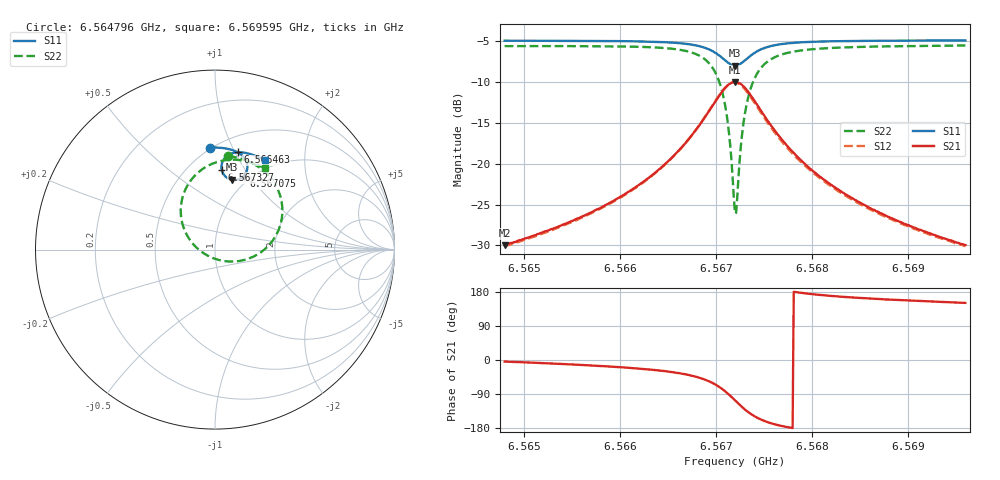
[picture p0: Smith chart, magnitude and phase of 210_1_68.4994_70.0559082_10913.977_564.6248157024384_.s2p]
#  HZ  S  RI  R  50.00
! Rohde & Schwarz Vector Network Analyzer
! Rohde-Schwarz,ZNB20-2Port,1311601062101988,3.16
! Created: UTC 3/20/2024, 5:13:06 PM
! freq[Hz]  re:S11  im:S11  re:S21  im:S21  re:S12  im:S12  re:S22  im:S22
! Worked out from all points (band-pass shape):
!   401 points, 6.564796 GHz to 6.569595 GHz, reference 50 ohm
!   highest |S21| = -9.96 dB at 6.567195 GHz (marker M1); lowest = -30.0 dB at 6.564796 GHz (marker M2)
!   |S21| within 3 dB of the highest: 6.566957 GHz to 6.567436 GHz (479.7 kHz wide, 0.0073 % of centre)
!   lowest |S11| = -8.0 dB at 6.567195 GHz (marker M3), VSWR 2.33, Z = 43.1 + j39.9 ohm
!   |S11| at or under -10 dB: nowhere
!   |S22| runs from -26.1 to -5.5 dB; largest |S21 - S12| = 0.016
!   S11 on the Smith chart (normalised r, x): 6.564796 GHz: 0.49, +0.82; 6.566463 GHz: 0.65, +1.02; 6.567075 GHz: 0.92, +0.94; 6.567327 GHz: 0.71, +0.79; 6.569595 GHz: 0.88, +1.30
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6.5647959e9  -0.0287 0.5684  0.0316 -0.00232  0.0311 -0.00271  0.0735 0.5215
6.5655996e9  0.039 0.5663  0.0462 -0.0107  0.0454 -0.0113  0.1549 0.5031
6.5660675e9  0.0827 0.5585  0.0622 -0.0228  0.0612 -0.0236  0.2162 0.4769
6.5664034e9  0.1187 0.5458  0.0817 -0.0427  0.0805 -0.0437  0.2751 0.4359
6.5664634e9  0.1257 0.5424  0.0864 -0.0486  0.0851 -0.0496  0.2877 0.4241
6.5667033e9  0.1566 0.5193  0.1082 -0.0879  0.1065 -0.0894  0.344 0.3476
6.5668833e9  0.1776 0.4824  0.1194 -0.1522  0.1163 -0.1557  0.3755 0.2229
6.5669913e9  0.1788 0.4447  0.103 -0.2187  0.097 -0.2231  0.3486 0.0966
6.5670752e9  0.1601 0.4095  0.0535 -0.2787  0.043 -0.2819  0.256 -0.0144
6.5671232e9  0.1374 0.3935  0.00367 -0.304  -0.0097 -0.3043  0.1628 -0.0579
6.5671832e9  0.0998 0.3877  -0.0744 -0.3083  -0.0888 -0.3028  0.0213 -0.0578
6.5671952e9  0.092 0.389  -0.0902 -0.3046  -0.1044 -0.2976  -0.00654 -0.0491
6.5672192e9  0.0771 0.3943  -0.1205 -0.2923  -0.1334 -0.2831  -0.0585 -0.0234
6.5672672e9  0.0529 0.413  -0.1693 -0.2534  -0.1783 -0.2406  -0.1388 0.0525
6.5673272e9  0.0377 0.4436  -0.2019 -0.1925  -0.2054 -0.1792  -0.1861 0.1636
6.5674232e9  0.041 0.4869  -0.2037 -0.1091  -0.2019 -0.0987  -0.1751 0.3096
6.5675671e9  0.0684 0.5225  -0.1682 -0.0399  -0.1646 -0.0342  -0.0983 0.4255
6.5677351e9  0.1003 0.5379  -0.1293 -0.0072  -0.1259 -0.00415  -0.0175 0.4776
6.567999e9  0.1393 0.5423  -0.0907 0.00979  -0.0883 0.0113  0.0684 0.4994
6.5684069e9  0.1842 0.5357  -0.0599 0.0157  -0.0584 0.0165  0.1491 0.4973
6.5688028e9  0.2196 0.5248  -0.044 0.0166  -0.043 0.0169  0.2014 0.4852
6.5695946e9  0.2802 0.4971  -0.0277 0.0155  -0.027 0.0157  0.2775 0.4533
